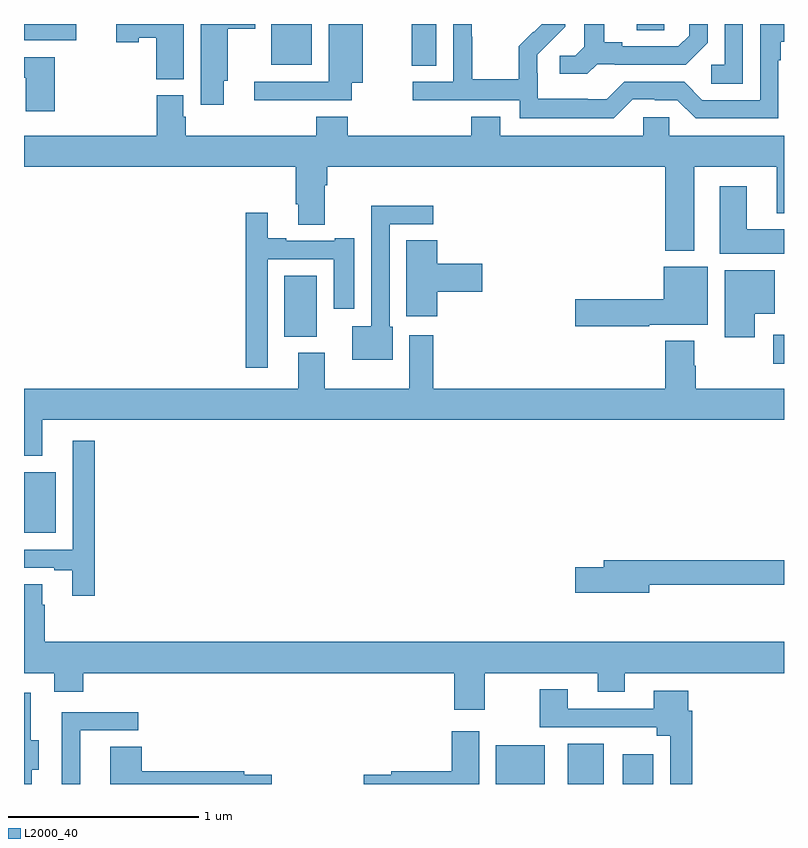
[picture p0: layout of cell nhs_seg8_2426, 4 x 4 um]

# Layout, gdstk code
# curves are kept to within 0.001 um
import gdstk
lib = gdstk.Library(unit=1e-6, precision=1e-09)
def R(c, l, rs):  # rectangles x0, y0, x1, y1
    for r in rs: c.add(gdstk.rectangle(r[:2], r[2:], *l))
def P(c, l, *ps):  # polygons
    for p in ps: c.add(gdstk.Polygon(p, *l))
L2000_40 = (2000, 40)

nhs_seg8_2426 = lib.new_cell('nhs_seg8_2426')
R(nhs_seg8_2426, L2000_40, [(265.484,1131.9,265.741,1132.105), (265.862,1131.9,266.05,1132.111), (266.15,1131.9,266.311,1132.057), (263,1133.222,263.167,1133.542), (266.943,1134.113,267,1134.265), (264.371,1134.254,264.541,1134.574), (265.04,1135.681,265.171,1135.9), (264.302,1135.685,264.514,1135.9), (263,1135.814,263.275,1135.9), (266.225,1135.867,266.37,1135.9)])
P(nhs_seg8_2426, L2000_40, [(264.052,1135.602),(264.073,1135.602),(264.073,1135.874),(264.217,1135.874),(264.217,1135.9),(263.93,1135.9),(263.93,1135.476),(264.052,1135.476)],
  [(266.205,1135.503),(266.321,1135.503),(266.321,1135.5),(266.439,1135.5),(266.535,1135.404),(266.97,1135.404),(266.97,1135.709),(266.983,1135.709),(266.983,1135.806),(267,1135.806),(267,1135.9),(266.874,1135.9),(266.874,1135.5),(266.571,1135.5),(266.475,1135.596),(266.16,1135.596),(266.067,1135.503),(265.967,1135.503),(265.967,1135.507),(265.704,1135.507),(265.704,1135.641),(265.702,1135.641),(265.702,1135.738),(265.848,1135.886),(265.848,1135.9),(265.726,1135.9),(265.683,1135.857),(265.68,1135.86),(265.603,1135.783),(265.603,1135.609),(265.359,1135.609),(265.359,1135.832),(265.356,1135.832),(265.356,1135.9),(265.26,1135.9),(265.26,1135.596),(265.047,1135.596),(265.047,1135.5),(265.608,1135.5),(265.608,1135.403),(266.105,1135.403)],
  [(263.842,1135.9),(263.486,1135.9),(263.486,1135.805),(263.604,1135.805),(263.604,1135.828),(263.696,1135.828),(263.696,1135.609),(263.842,1135.609)],
  [(266.784,1135.9),(266.688,1135.9),(266.688,1135.686),(266.616,1135.686),(266.616,1135.585),(266.784,1135.585)],
  [(266.016,1135.689),(266.11,1135.689),(266.11,1135.686),(266.482,1135.686),(266.598,1135.802),(266.598,1135.9),(266.501,1135.9),(266.501,1135.839),(266.444,1135.782),(266.149,1135.782),(266.149,1135.805),(266.053,1135.805),(266.053,1135.9),(265.949,1135.9),(265.949,1135.781),(265.902,1135.734),(265.821,1135.734),(265.821,1135.637),(265.964,1135.637)],
  [(264.726,1135.592),(264.784,1135.592),(264.784,1135.9),(264.605,1135.9),(264.605,1135.596),(264.213,1135.596),(264.213,1135.499),(264.726,1135.499)],
  [(263.162,1135.725),(263,1135.725),(263,1135.617),(263.009,1135.617),(263.009,1135.44),(263.162,1135.44)],
  [(265.355,1135.411),(265.355,1135.312),(264.704,1135.312),(264.704,1135.411),(264.539,1135.411),(264.539,1135.312),(263.852,1135.312),(263.852,1135.413),(263.839,1135.413),(263.839,1135.524),(263.699,1135.524),(263.699,1135.312),(263,1135.312),(263,1135.148),(264.431,1135.148),(264.431,1134.952),(264.443,1134.952),(264.443,1134.844),(264.583,1134.844),(264.583,1135.052),(264.596,1135.052),(264.596,1135.148),(266.375,1135.148),(266.375,1134.707),(266.527,1134.707),(266.527,1135.148),(266.963,1135.148),(266.963,1134.905),(267,1134.905),(267,1135.312),(266.397,1135.312),(266.397,1135.41),(266.259,1135.41),(266.259,1135.312),(265.507,1135.312),(265.507,1135.411)],
  [(267,1134.82),(266.803,1134.82),(266.803,1135.045),(266.663,1135.045),(266.663,1134.692),(267,1134.692)],
  [(264.94,1134.306),(264.924,1134.306),(264.924,1134.846),(265.153,1134.846),(265.153,1134.944),(264.828,1134.944),(264.828,1134.31),(264.728,1134.31),(264.728,1134.134),(264.94,1134.134)],
  [(264.282,1134.663),(264.629,1134.663),(264.629,1134.402),(264.739,1134.402),(264.739,1134.772),(264.635,1134.772),(264.635,1134.759),(264.379,1134.759),(264.379,1134.772),(264.283,1134.772),(264.283,1134.907),(264.166,1134.907),(264.166,1134.09),(264.282,1134.09)],
  [(265.175,1134.491),(265.411,1134.491),(265.411,1134.638),(265.175,1134.638),(265.175,1134.761),(265.013,1134.761),(265.013,1134.363),(265.175,1134.363)],
  [(266.291,1134.317),(266.599,1134.317),(266.599,1134.622),(266.366,1134.622),(266.366,1134.452),(265.902,1134.452),(265.902,1134.31),(266.291,1134.31)],
  [(266.845,1134.374),(266.95,1134.374),(266.95,1134.604),(266.687,1134.604),(266.687,1134.252),(266.845,1134.252)],
  [(263.095,1133.816),(267,1133.816),(267,1133.98),(266.535,1133.98),(266.535,1134.101),(266.527,1134.101),(266.527,1134.232),(266.375,1134.232),(266.375,1133.98),(265.154,1133.98),(265.154,1134.262),(265.028,1134.262),(265.028,1133.98),(264.583,1133.98),(264.583,1134.169),(264.443,1134.169),(264.443,1133.98),(263,1133.98),(263,1133.627),(263.095,1133.627)],
  [(263.372,1133.707),(263.256,1133.707),(263.256,1133.133),(263,1133.133),(263,1133.037),(263.159,1133.037),(263.159,1133.025),(263.255,1133.025),(263.255,1132.89),(263.372,1132.89)],
  [(266.29,1132.95),(267,1132.95),(267,1133.078),(266.051,1133.078),(266.051,1133.042),(265.902,1133.042),(265.902,1132.907),(266.29,1132.907)],
  [(265.425,1132.484),(266.021,1132.484),(266.021,1132.385),(266.161,1132.385),(266.161,1132.484),(267,1132.484),(267,1132.648),(263.108,1132.648),(263.108,1132.844),(263.095,1132.844),(263.095,1132.952),(263,1132.952),(263,1132.484),(263.159,1132.484),(263.159,1132.385),(263.312,1132.385),(263.312,1132.484),(265.265,1132.484),(265.265,1132.29),(265.425,1132.29)],
  [(266.516,1132.286),(266.497,1132.286),(266.497,1132.39),(266.315,1132.39),(266.315,1132.296),(265.861,1132.296),(265.861,1132.399),(265.714,1132.399),(265.714,1132.2),(266.33,1132.2),(266.33,1132.154),(266.4,1132.154),(266.4,1131.9),(266.516,1131.9)],
  [(263.04,1131.976),(263.077,1131.976),(263.077,1132.131),(263.035,1132.131),(263.035,1132.381),(263,1132.381),(263,1131.9),(263.04,1131.9)],
  [(263.295,1131.985),(263.296,1131.985),(263.296,1132.182),(263.602,1132.182),(263.602,1132.278),(263.199,1132.278),(263.199,1131.9),(263.295,1131.9)],
  [(265.396,1132.177),(265.25,1132.177),(265.25,1131.968),(264.934,1131.968),(264.934,1131.948),(264.788,1131.948),(264.788,1131.9),(265.396,1131.9)],
  [(264.305,1131.948),(264.158,1131.948),(264.158,1131.968),(263.621,1131.968),(263.621,1132.097),(263.453,1132.097),(263.453,1131.9),(264.305,1131.9)])

lib.write_gds('nhs_seg8_2426.gds')
